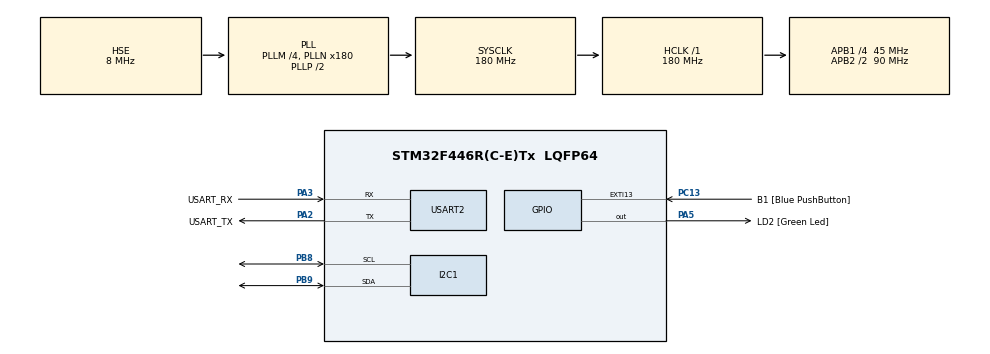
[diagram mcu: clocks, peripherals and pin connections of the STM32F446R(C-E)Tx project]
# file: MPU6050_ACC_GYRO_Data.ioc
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I2C1.I2C_Mode=I2C_Fast
Mcu.Family=STM32F4
Mcu.Name=STM32F446R(C-E)Tx
Mcu.Package=LQFP64
NVIC.PriorityGroup=NVIC_PRIORITYGROUP_0
PA13.GPIO_Label=TMS
PA13.Mode=Serial_Wire
PA13.Signal=SYS_JTMS-SWDIO
PA14.GPIO_Label=TCK
PA14.Mode=Serial_Wire
PA14.Signal=SYS_JTCK-SWCLK
PA2.GPIO_Label=USART_TX
PA2.Mode=Asynchronous
PA2.Signal=USART2_TX
PA3.GPIO_Label=USART_RX
PA3.Mode=Asynchronous
PA3.Signal=USART2_RX
PA5.GPIO_Label=LD2 [Green Led]
PA5.Signal=GPIO_Output
PB3.GPIO_Label=SWO
PB3.Signal=SYS_JTDO-SWO
PB8.Mode=I2C
PB8.Signal=I2C1_SCL
PB9.Mode=I2C
PB9.Signal=I2C1_SDA
PC13.GPIO_Label=B1 [Blue PushButton]
PC13.GPIO_ModeDefaultEXTI=GPIO_MODE_IT_FALLING
PC13.Signal=GPXTI13
PC14-OSC32_IN.Mode=LSE-External-Oscillator
PC14-OSC32_IN.Signal=RCC_OSC32_IN
PC15-OSC32_OUT.Mode=LSE-External-Oscillator
PC15-OSC32_OUT.Signal=RCC_OSC32_OUT
PH0-OSC_IN.Mode=HSE-External-Oscillator
PH0-OSC_IN.Signal=RCC_OSC_IN
PH1-OSC_OUT.Mode=HSE-External-Oscillator
PH1-OSC_OUT.Signal=RCC_OSC_OUT
ProjectManager.HeapSize=0x200
ProjectManager.StackSize=0x400
ProjectManager.TargetToolchain=STM32CubeIDE
RCC.48MHZClocksFreq_Value=84000000
RCC.AHBFreq_Value=180000000
RCC.APB1CLKDivider=RCC_HCLK_DIV4
RCC.APB1Freq_Value=45000000
RCC.APB1TimFreq_Value=90000000
RCC.APB2CLKDivider=RCC_HCLK_DIV2
RCC.APB2Freq_Value=90000000
RCC.APB2TimFreq_Value=180000000
RCC.CortexFreq_Value=180000000
RCC.FLatency-AdvancedSettings=FLASH_LATENCY_5
RCC.HCLKFreq_Value=180000000
RCC.HSE_VALUE=8000000
RCC.HSI_VALUE=16000000
RCC.PLLM=4
RCC.PLLN=180
RCC.PLLSourceVirtual=RCC_PLLSOURCE_HSE
RCC.SYSCLKFreq_VALUE=180000000
RCC.SYSCLKSource=RCC_SYSCLKSOURCE_PLLCLK
RCC.USBFreq_Value=180000000
RCC.VCOOutputFreq_Value=360000000
USART2.VirtualMode=VM_ASYNC
board=NUCLEO-F446RE

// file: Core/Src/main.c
/* USER CODE BEGIN Header */
/**
  ******************************************************************************
  * @file           : main.c
  * @brief          : Main program body
  ******************************************************************************
  * @attention
  *
  * Copyright (c) 2024 STMicroelectronics.
  * All rights reserved.
  *
  * This software is licensed under terms that can be found in the LICENSE file
  * in the root directory of this software component.
  * If no LICENSE file comes with this software, it is provided AS-IS.
  *
  ******************************************************************************
  */
/* USER CODE END Header */
#include "main.h"

/* USER CODE BEGIN PD */
#define MPU6050_ADDRESS 0x68<<1
#define WHO_I_AM_REG    0x75

#define SMPLRT_DIV_REG   0x19
#define GYRO_CONFIG_REG  0x1B
#define ACCEL_CONFIG_REG 0x1C
#define ACCEL_XOUT_H_REG 0x3B
#define TEMP_OUT_H_REG   0x41
#define GYRO_XOUT_H_REG  0x43
#define PWR_MGMT_1_REG   0x68
/* USER CODE END PD */

I2C_HandleTypeDef hi2c1;

UART_HandleTypeDef huart2;

/* USER CODE BEGIN PV */
uint8_t check = 0;

uint16_t Accel_X_RAW = 0;
uint16_t Accel_Y_RAW = 0;
uint16_t Accel_Z_RAW = 0;

uint16_t Gyro_X_RAW = 0;
uint16_t Gyro_Y_RAW = 0;
uint16_t Gyro_Z_RAW = 0;

double Ax = 0;
double Ay = 0;
double Az = 0;

double Gx = 0;
double Gy = 0;
double Gz = 0;
uint8_t Rec_Data[6];
/* USER CODE END PV */

void SystemClock_Config(void);
static void MX_GPIO_Init(void);
static void MX_USART2_UART_Init(void);
static void MX_I2C1_Init(void);

int main(void)
{

  /* MCU Configuration--------------------------------------------------------*/

  /* Reset of all peripherals, Initializes the Flash interface and the Systick. */
  HAL_Init();

  /* Configure the system clock */
  SystemClock_Config();

  /* Initialize all configured peripherals */
  MX_GPIO_Init();
  MX_USART2_UART_Init();
  MX_I2C1_Init();

  /* Infinite loop */
  /* USER CODE BEGIN WHILE */
  while (1)
  {
	  if(HAL_I2C_Mem_Read(&hi2c1, MPU6050_ADDRESS, WHO_I_AM_REG, 1, &check, 1, HAL_MAX_DELAY) != HAL_OK)
	  {
		  Error_Handler();
	  }
	  HAL_Delay(10);
//	  if(check == 104)
//	  {
//		  uint8_t data = 0;
//
//		  data = 0x00;
//		  HAL_I2C_Mem_Write(&hi2c1, MPU6050_ADDRESS, PWR_MGMT_1_REG, 1, &data, 1, HAL_MAX_DELAY);
//
//		  data = 0x07;
//		  HAL_I2C_Mem_Write(&hi2c1, MPU6050_ADDRESS, SMPLRT_DIV_REG, 1, &data, 1, HAL_MAX_DELAY);
//
//		  data = 0x00;
//		  HAL_I2C_Mem_Write(&hi2c1, MPU6050_ADDRESS, ACCEL_CONFIG_REG, 1, &data, 1, HAL_MAX_DELAY);
//
//		  data = 0x00;
//		  HAL_I2C_Mem_Write(&hi2c1, MPU6050_ADDRESS, GYRO_CONFIG_REG, 1, &data, 1, HAL_MAX_DELAY);
//
//	  }
//
//
//
//	  	 HAL_I2C_Mem_Read(&hi2c1, MPU6050_ADDRESS, ACCEL_XOUT_H_REG, 1, Rec_Data, 6, HAL_MAX_DELAY);
//	  	 Accel_X_RAW = (uint16_t) (Rec_Data[0] << 8 | Rec_Data[1]);
//	     Accel_Y_RAW = (uint16_t) (Rec_Data[2] << 8 | Rec_Data[3]);
//	  	 Accel_Z_RAW = (uint16_t) (Rec_Data[4] << 8 | Rec_Data[5]);
//
//	  	 Ax = (double) (Accel_X_RAW/16384.0);
//	  	 Ay = (double) (Accel_Y_RAW/16384.0);
//	  	 Az = (double) (Accel_Z_RAW/16384.0);
    /* USER CODE END WHILE */

  }
}

void SystemClock_Config(void)
{
  RCC_OscInitTypeDef RCC_OscInitStruct = {0};
  RCC_ClkInitTypeDef RCC_ClkInitStruct = {0};

  /** Configure the main internal regulator output voltage
  */
  __HAL_RCC_PWR_CLK_ENABLE();
  __HAL_PWR_VOLTAGESCALING_CONFIG(PWR_REGULATOR_VOLTAGE_SCALE1);

  /** Initializes the RCC Oscillators according to the specified parameters
  * in the RCC_OscInitTypeDef structure.
  */
  RCC_OscInitStruct.OscillatorType = RCC_OSCILLATORTYPE_HSE;
  RCC_OscInitStruct.HSEState = RCC_HSE_ON;
  RCC_OscInitStruct.PLL.PLLState = RCC_PLL_ON;
  RCC_OscInitStruct.PLL.PLLSource = RCC_PLLSOURCE_HSE;
  RCC_OscInitStruct.PLL.PLLM = 4;
  RCC_OscInitStruct.PLL.PLLN = 180;
  RCC_OscInitStruct.PLL.PLLP = RCC_PLLP_DIV2;
  RCC_OscInitStruct.PLL.PLLQ = 2;
  RCC_OscInitStruct.PLL.PLLR = 2;
  if (HAL_RCC_OscConfig(&RCC_OscInitStruct) != HAL_OK)
  {
    Error_Handler();
  }

  /** Activate the Over-Drive mode
  */
  if (HAL_PWREx_EnableOverDrive() != HAL_OK)
  {
    Error_Handler();
  }

  /** Initializes the CPU, AHB and APB buses clocks
  */
  RCC_ClkInitStruct.ClockType = RCC_CLOCKTYPE_HCLK|RCC_CLOCKTYPE_SYSCLK
                              |RCC_CLOCKTYPE_PCLK1|RCC_CLOCKTYPE_PCLK2;
  RCC_ClkInitStruct.SYSCLKSource = RCC_SYSCLKSOURCE_PLLCLK;
  RCC_ClkInitStruct.AHBCLKDivider = RCC_SYSCLK_DIV1;
  RCC_ClkInitStruct.APB1CLKDivider = RCC_HCLK_DIV4;
  RCC_ClkInitStruct.APB2CLKDivider = RCC_HCLK_DIV2;

  if (HAL_RCC_ClockConfig(&RCC_ClkInitStruct, FLASH_LATENCY_5) != HAL_OK)
  {
    Error_Handler();
  }
}

static void MX_I2C1_Init(void)
{

  hi2c1.Instance = I2C1;
  hi2c1.Init.ClockSpeed = 400000;
  hi2c1.Init.DutyCycle = I2C_DUTYCYCLE_2;
  hi2c1.Init.OwnAddress1 = 0;
  hi2c1.Init.AddressingMode = I2C_ADDRESSINGMODE_7BIT;
  hi2c1.Init.DualAddressMode = I2C_DUALADDRESS_DISABLE;
  hi2c1.Init.OwnAddress2 = 0;
  hi2c1.Init.GeneralCallMode = I2C_GENERALCALL_DISABLE;
  hi2c1.Init.NoStretchMode = I2C_NOSTRETCH_DISABLE;
  if (HAL_I2C_Init(&hi2c1) != HAL_OK)
  {
    Error_Handler();
  }

}

static void MX_USART2_UART_Init(void)
{

  huart2.Instance = USART2;
  huart2.Init.BaudRate = 115200;
  huart2.Init.WordLength = UART_WORDLENGTH_8B;
  huart2.Init.StopBits = UART_STOPBITS_1;
  huart2.Init.Parity = UART_PARITY_NONE;
  huart2.Init.Mode = UART_MODE_TX_RX;
  huart2.Init.HwFlowCtl = UART_HWCONTROL_NONE;
  huart2.Init.OverSampling = UART_OVERSAMPLING_16;
  if (HAL_UART_Init(&huart2) != HAL_OK)
  {
    Error_Handler();
  }

}

static void MX_GPIO_Init(void)
{
  GPIO_InitTypeDef GPIO_InitStruct = {0};

  /* GPIO Ports Clock Enable */
  __HAL_RCC_GPIOC_CLK_ENABLE();
  __HAL_RCC_GPIOH_CLK_ENABLE();
  __HAL_RCC_GPIOA_CLK_ENABLE();
  __HAL_RCC_GPIOB_CLK_ENABLE();

  /*Configure GPIO pin Output Level */
  HAL_GPIO_WritePin(LD2_GPIO_Port, LD2_Pin, GPIO_PIN_RESET);

  /*Configure GPIO pin : B1_Pin */
  GPIO_InitStruct.Pin = B1_Pin;
  GPIO_InitStruct.Mode = GPIO_MODE_IT_FALLING;
  GPIO_InitStruct.Pull = GPIO_NOPULL;
  HAL_GPIO_Init(B1_GPIO_Port, &GPIO_InitStruct);

  /*Configure GPIO pin : LD2_Pin */
  GPIO_InitStruct.Pin = LD2_Pin;
  GPIO_InitStruct.Mode = GPIO_MODE_OUTPUT_PP;
  GPIO_InitStruct.Pull = GPIO_NOPULL;
  GPIO_InitStruct.Speed = GPIO_SPEED_FREQ_LOW;
  HAL_GPIO_Init(LD2_GPIO_Port, &GPIO_InitStruct);

}

void Error_Handler(void)
{
  __disable_irq();
  while (1)
  {
  }
}
